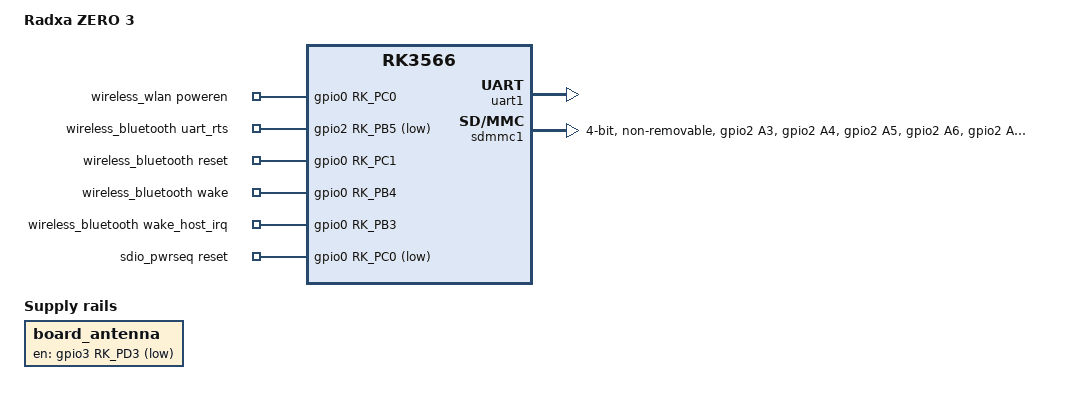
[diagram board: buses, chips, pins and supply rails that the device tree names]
// SPDX-License-Identifier: (GPL-2.0+ OR MIT)
/*
 * Copyright (c) 2022 Rockchip Electronics Co., Ltd.
 * Copyright (c) 2023 Radxa Limited.
 *
 */

/dts-v1/;

#include "rk3566-radxa-zero3.dtsi"

/ {
	model = "Radxa ZERO 3";
	compatible ="radxa,zero3-aic8800ds2", "rockchip,rk3566";

	wireless_wlan: wireless-wlan {
		compatible = "wlan-platdata";
		rockchip,grf = <&grf>;
		WIFI,poweren_gpio = <&gpio0 RK_PC0 GPIO_ACTIVE_HIGH>;
		status = "okay";
	};

	wireless_bluetooth: wireless-bluetooth {
		compatible = "bluetooth-platdata";
		uart_rts_gpios = <&gpio2 RK_PB5 GPIO_ACTIVE_LOW>;
		pinctrl-names = "default", "rts_gpio";
		pinctrl-0 = <&uart1m0_rtsn>;
		pinctrl-1 = <&uart1_gpios>;
		BT,reset_gpio    = <&gpio0 RK_PC1 GPIO_ACTIVE_HIGH>;
		BT,wake_gpio     = <&gpio0 RK_PB4 GPIO_ACTIVE_HIGH>;
		BT,wake_host_irq = <&gpio0 RK_PB3 GPIO_ACTIVE_HIGH>;
		status = "okay";
	};

	sdio_pwrseq: sdio-pwrseq {
		compatible = "mmc-pwrseq-simple";
		pinctrl-names = "default";
		pinctrl-0 = <&wifi_enable_h>;
		reset-gpios = <&gpio0 RK_PC0 GPIO_ACTIVE_LOW>;
	};

	board_antenna: board-antenna {
		status = "okay";
		compatible = "regulator-fixed";
		enable-active-low;
		gpio = <&gpio3 RK_PD3 GPIO_ACTIVE_LOW>;
		regulator-always-on;
		regulator-boot-on;
		pinctrl-0 = <&ant_1>;
		pinctrl-names = "default";
		regulator-name = "board_antenna";
	};
};

&uart1 {
	status = "okay";
	pinctrl-names = "default";
	pinctrl-0 = <&uart1m0_xfer &uart1m0_ctsn>;
};

&sdmmc1 {
	supports-sdio;
	bus-width = <4>;
	disable-wp;
	cap-sd-highspeed;
	cap-sdio-irq;
	keep-power-in-suspend;
	non-removable;
	rockchip,default-sample-phase = <180>;
	mmc-pwrseq = <&sdio_pwrseq>;
	non-removable;
	no-sd;
	no-mmc;
	pinctrl-names = "default";
	pinctrl-0 = <&sdmmc1_bus4 &sdmmc1_cmd &sdmmc1_clk>;
	sd-uhs-sdr104;
	status = "okay";
};

&pinctrl {
	wifi {
		wifi_enable_h: wifi-enable-h {
			rockchip,pins = <0 RK_PC0 RK_FUNC_GPIO &pcfg_pull_none>;
		};

	};

	wireless-bluetooth {
		uart1_gpios: uart1-gpios {
			rockchip,pins = <2 RK_PB5 RK_FUNC_GPIO &pcfg_pull_none>;
		};
	};

	sdmmc1 {
		/omit-if-no-ref/
		sdmmc1_bus4: sdmmc1-bus4 {
			rockchip,pins =
				/* sdmmc1_d0 */
				<2 RK_PA3 1 &pcfg_pull_up_drv_level_12>,
				/* sdmmc1_d1 */
				<2 RK_PA4 1 &pcfg_pull_up_drv_level_12>,
				/* sdmmc1_d2 */
				<2 RK_PA5 1 &pcfg_pull_up_drv_level_12>,
				/* sdmmc1_d3 */
				<2 RK_PA6 1 &pcfg_pull_up_drv_level_12>;
		};

		/omit-if-no-ref/
		sdmmc1_clk: sdmmc1-clk {
			rockchip,pins =
				/* sdmmc1_clk */
				<2 RK_PB0 1 &pcfg_pull_up_drv_level_12>;
		};

		/omit-if-no-ref/
		sdmmc1_cmd: sdmmc1-cmd {
			rockchip,pins =
				/* sdmmc1_cmd */
				<2 RK_PA7 1 &pcfg_pull_up_drv_level_12>;
		};

		/omit-if-no-ref/
		sdmmc1_det: sdmmc1-det {
			rockchip,pins =
				/* sdmmc1_det */
				<2 RK_PB2 1 &pcfg_pull_up>;
		};

		/omit-if-no-ref/
		sdmmc1_pwren: sdmmc1-pwren {
			rockchip,pins =
				/* sdmmc1_pwren */
				<2 RK_PB1 1 &pcfg_pull_none>;
		};
	};

	antenna {
		ant_1: ant-1 {
			rockchip,pins = <3 RK_PD3 RK_FUNC_GPIO &pcfg_pull_down>;
		};
	};
};
